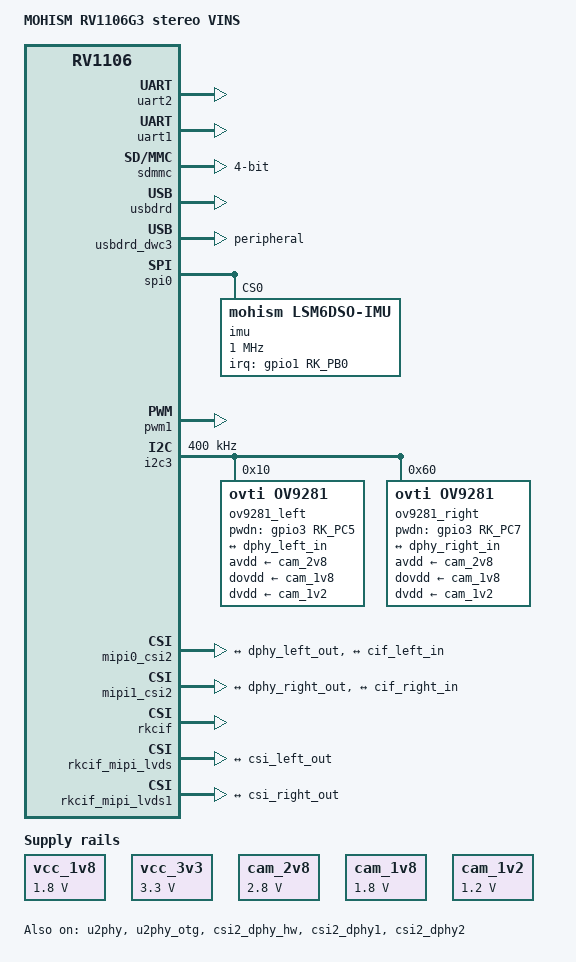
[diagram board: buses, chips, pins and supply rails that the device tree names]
// SPDX-License-Identifier: (GPL-2.0+ OR MIT)
/dts-v1/;
#include "rv1106.dtsi"
/ {
 model = "MOHISM RV1106G3 stereo VINS";
 compatible = "mohism,rv1106g3-vins", "rockchip,rv1106";
 chosen {
  stdout-path = "serial2:115200n8";
  bootargs = "console=ttyS2,115200 console=ttyGS1 root=/dev/mmcblk1p6 rootwait rootfstype=ext4 coherent_pool=1M blkdevparts=mmcblk1:32K(env),512K@32K(idblock),256K(uboot),32M(boot),16M(userdata),256M(rootfs)";
 };
 vcc_1v8: vcc-1v8 {compatible="regulator-fixed";regulator-name="VDD1V8_SYS";regulator-min-microvolt=<1800000>;regulator-max-microvolt=<1800000>;regulator-always-on;};
 vcc_3v3: vcc-3v3 {compatible="regulator-fixed";regulator-name="VDD3V3_SYS";regulator-min-microvolt=<3300000>;regulator-max-microvolt=<3300000>;regulator-always-on;};
 cam_2v8: cam-2v8 {compatible="regulator-fixed";regulator-name="VDD2V8";regulator-min-microvolt=<2800000>;regulator-max-microvolt=<2800000>;regulator-always-on;};
 cam_1v8: cam-1v8 {compatible="regulator-fixed";regulator-name="VDD1V8";regulator-min-microvolt=<1800000>;regulator-max-microvolt=<1800000>;regulator-always-on;};
 cam_1v2: cam-1v2 {compatible="regulator-fixed";regulator-name="VDD1V2";regulator-min-microvolt=<1200000>;regulator-max-microvolt=<1200000>;regulator-always-on;};
};
&fiq_debugger {status="disabled";};
&uart2 {status="okay";pinctrl-names="default";pinctrl-0=<&uart2m1_xfer>;};
&uart1 {status="okay";pinctrl-names="default";pinctrl-0=<&uart1m0_xfer>;};
&sdmmc {
 status="okay";bus-width=<4>;max-frequency=<50000000>;
 cap-sd-highspeed;no-1-8-v;disable-wp;
 pinctrl-names="default";pinctrl-0=<&sdmmc0_clk &sdmmc0_cmd &sdmmc0_det &sdmmc0_bus4>;
};
&emmc {status="disabled";};
&sfc {status="disabled";};
&gmac {status="disabled";};
&u2phy {status="okay";};
&u2phy_otg {status="okay";};
&usbdrd {status="okay";};
&usbdrd_dwc3 {status="okay";dr_mode="peripheral";maximum-speed="high-speed";};
&spi0 {
 status="okay";pinctrl-names="default";pinctrl-0=<&spi0m0_pins &spi0m0_cs0>;
 imu@0 {
  compatible="mohism,lsm6dso-imu";reg=<0>;spi-max-frequency=<1000000>;spi-cpol;spi-cpha;
  pinctrl-names="default";pinctrl-0=<&imu_int_pin>;
  interrupt-parent=<&gpio1>;interrupts=<RK_PB0 IRQ_TYPE_EDGE_RISING>;
 };
};
&pinctrl {
 mohism {
  imu_int_pin: imu-int-pin {rockchip,pins=<1 RK_PB0 RK_FUNC_GPIO &pcfg_pull_none>;};
 };
};
&pwm1 {status="okay";pinctrl-names="default";pinctrl-0=<&pwm1m2_pins>;};
&i2c3 {
 status="okay";clock-frequency=<400000>;
 pinctrl-names="default";pinctrl-0=<&i2c3m2_xfer>;
 // SID=high on U4, SID=low on U12. Confirm silicon-specific unique addresses
 // before boot; never use shared/broadcast 0x70 to distinguish cameras.
 ov9281_left: camera@10 {
  compatible="ovti,ov9281";reg=<0x10>;
  clocks=<&cru MCLK_REF_MIPI0>;clock-names="xvclk";
  pinctrl-names="default";pinctrl-0=<&mipi_refclk_out0>;
  pwdn-gpios=<&gpio3 RK_PC5 GPIO_ACTIVE_HIGH>;
  avdd-supply=<&cam_2v8>;dovdd-supply=<&cam_1v8>;dvdd-supply=<&cam_1v2>;
  rockchip,camera-module-index=<0>;rockchip,camera-module-facing="back";
  rockchip,camera-module-name="MOHISM-LEFT";rockchip,camera-module-lens-name="calibrate-me";
  mohism,external-fsin;
  port {left_out: endpoint {remote-endpoint=<&dphy_left_in>;data-lanes=<1 2>;};};
 };
 ov9281_right: camera@60 {
  compatible="ovti,ov9281";reg=<0x60>;
  clocks=<&cru MCLK_REF_MIPI1>;clock-names="xvclk";
  pinctrl-names="default";pinctrl-0=<&mipi_refclk_out1>;
  pwdn-gpios=<&gpio3 RK_PC7 GPIO_ACTIVE_HIGH>;
  avdd-supply=<&cam_2v8>;dovdd-supply=<&cam_1v8>;dvdd-supply=<&cam_1v2>;
  rockchip,camera-module-index=<1>;rockchip,camera-module-facing="back";
  rockchip,camera-module-name="MOHISM-RIGHT";rockchip,camera-module-lens-name="calibrate-me";
  mohism,external-fsin;
  port {right_out: endpoint {remote-endpoint=<&dphy_right_in>;data-lanes=<1 2>;};};
 };
};
&csi2_dphy_hw {status="okay";};
&csi2_dphy0 {status="disabled";};
&csi2_dphy1 {
 status="okay";
 ports {
  #address-cells=<1>;#size-cells=<0>;
  port@0 {reg=<0>;#address-cells=<1>;#size-cells=<0>;
   dphy_left_in: endpoint@1 {reg=<1>;remote-endpoint=<&left_out>;data-lanes=<1 2>;};
  };
  port@1 {reg=<1>;#address-cells=<1>;#size-cells=<0>;
   dphy_left_out: endpoint@0 {reg=<0>;remote-endpoint=<&csi_left_in>;};
  };
 };
};
&csi2_dphy2 {
 status="okay";
 ports {
  #address-cells=<1>;#size-cells=<0>;
  port@0 {reg=<0>;#address-cells=<1>;#size-cells=<0>;
   dphy_right_in: endpoint@1 {reg=<1>;remote-endpoint=<&right_out>;data-lanes=<1 2>;};
  };
  port@1 {reg=<1>;#address-cells=<1>;#size-cells=<0>;
   dphy_right_out: endpoint@0 {reg=<0>;remote-endpoint=<&csi_right_in>;};
  };
 };
};
&mipi0_csi2 {
 status="okay";
 ports {#address-cells=<1>;#size-cells=<0>;
  port@0 {reg=<0>;#address-cells=<1>;#size-cells=<0>;csi_left_in: endpoint@1 {reg=<1>;remote-endpoint=<&dphy_left_out>;};};
  port@1 {reg=<1>;#address-cells=<1>;#size-cells=<0>;csi_left_out: endpoint@0 {reg=<0>;remote-endpoint=<&cif_left_in>;};};
 };
};
&mipi1_csi2 {
 status="okay";
 ports {#address-cells=<1>;#size-cells=<0>;
  port@0 {reg=<0>;#address-cells=<1>;#size-cells=<0>;csi_right_in: endpoint@1 {reg=<1>;remote-endpoint=<&dphy_right_out>;};};
  port@1 {reg=<1>;#address-cells=<1>;#size-cells=<0>;csi_right_out: endpoint@0 {reg=<0>;remote-endpoint=<&cif_right_in>;};};
 };
};
&rkcif {status="okay";pinctrl-names="default";pinctrl-0=<&mipi_pins>;};
&rkcif_mipi_lvds {status="okay";port {cif_left_in: endpoint {remote-endpoint=<&csi_left_out>;};};};
&rkcif_mipi_lvds1 {status="okay";port {cif_right_in: endpoint {remote-endpoint=<&csi_right_out>;};};};
// Monochrome RAW10 bypasses ISP; direct CIF capture avoids Bayer processing.
&rkisp {status="disabled";};
&rkcif_mipi_lvds_sditf {status="disabled";};
&rkcif_mipi_lvds1_sditf {status="disabled";};
